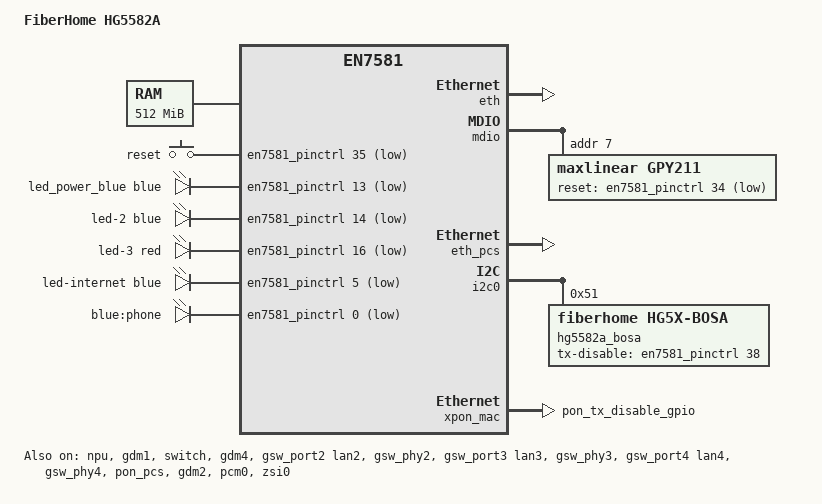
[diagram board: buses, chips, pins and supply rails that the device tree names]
// SPDX-License-Identifier: (GPL-2.0-only OR BSD-2-Clause)
/dts-v1/;

/* Firmware reserves the first 2 MiB of DRAM. */
/memreserve/ 0x80000000 0x200000;

#include <dt-bindings/gpio/gpio.h>
#include <dt-bindings/input/input.h>
#include <dt-bindings/leds/common.h>
#include "an7581.dtsi"
#include "an7581-fiberhome-ubi-parts.dtsi"

/* FiberHome HG5582A board description.
 *
 * HG5582A is the single-FXS variant of the HG5382A family. It uses the same
 * AN7581 PON/LAN platform, parallel NAND and GPY211 2.5G PHY, but has no
 * WiFi or USB and exposes one Le9641 ZSI FXS line.  The AN7581 voice
 * nodes are added by the AN7581-specific voice driver, not the EN75xx stack.
 */

/ {
	model = "FiberHome HG5582A";
	/*
	 * The stock HG5382A U-Boot validates the first compatible string before
	 * accepting a firmware FIT.  Keep the hg5382a alias first so that stock
	 * recovery accepts this image; hg5582a remains in the list and preinit
	 * restores the real board_name.
	 */
	compatible = "fiberhome,hg5382a", "fiberhome,hg5582a",
		     "airoha,an7581", "airoha,en7581";

	aliases {
		/* OpenWrt diag state controls the power LED. */
		led-boot = &led_power_blue;
		led-failsafe = &led_power_blue;
		led-running = &led_power_blue;
		led-upgrade = &led_power_blue;

		serial0 = &uart1;
	};

	chosen {
		/* fitblk locates the FIT-embedded read-only rootfs through this volume. */
		rootdisk = <&ubi_fit>;
		bootargs = "console=ttyS0,115200 earlycon";
		stdout-path = "serial0:115200n8";
	};

	memory@80000000 {
		device_type = "memory";
		reg = <0x0 0x80000000 0x0 0x20000000>;
	};

	keys {
		compatible = "gpio-keys";

		key-reset {
			label = "reset";
			linux,code = <KEY_RESTART>;
			/* The reset key drives GPIO35 low. */
			gpios = <&en7581_pinctrl 35 GPIO_ACTIVE_LOW>;
			debounce-interval = <60>;
		};
	};

	leds {
		compatible = "gpio-leds";

		/* The active-low power LED is connected to GPIO13. */
		led_power_blue: led-0 {
			color = <LED_COLOR_ID_BLUE>;
			function = LED_FUNCTION_POWER;
			gpios = <&en7581_pinctrl 13 GPIO_ACTIVE_LOW>;
		};

		/* PON registration maps O1-O3 to fast blink, O4 to slow blink, and O5 on. */
		led-2 {
			color = <LED_COLOR_ID_BLUE>;
			function = LED_FUNCTION_WAN;
			gpios = <&en7581_pinctrl 14 GPIO_ACTIVE_LOW>;
			linux,default-trigger = "pon0-registration";
		};

		/* The LOS LED follows optical signal loss. */
		led-3 {
			color = <LED_COLOR_ID_RED>;
			function = LED_FUNCTION_WAN;
			gpios = <&en7581_pinctrl 16 GPIO_ACTIVE_LOW>;
			linux,default-trigger = "pon0-los";
		};

		/* Internet / broadband; active-low GPIO5, follows PON online. */
		led-internet {
			color = <LED_COLOR_ID_BLUE>;
			function = LED_FUNCTION_WAN_ONLINE;
			gpios = <&en7581_pinctrl 5 GPIO_ACTIVE_LOW>;
			linux,default-trigger = "pon0-online";
		};

		/* POTS/phone LED; active-low GPIO0, controlled by phone-led. */
		led-phone {
			label = "blue:phone";
			gpios = <&en7581_pinctrl 0 GPIO_ACTIVE_LOW>;
			default-state = "off";
		};
	};
};

/*
 * AN7581 voice: the PCM engine, ZSI wrapper and Le9641 SLIC are separate
 * drivers.  Do not bind the EN75xx PCM/ZSI/voice stack here.
 */

/ {
	pcm0: pcm@1fbd0000 {
		compatible = "airoha,an7581-pcm";
		reg = <0x0 0x1fbd0000 0x0 0x1000>;
		reg-names = "pcm";
		interrupts = <GIC_SPI 27 IRQ_TYPE_LEVEL_HIGH>;
		status = "okay";
	};

	zsi0: zsi@1fbd1000 {
		compatible = "airoha,an7581-zsi";
		reg = <0x0 0x1fbd1000 0x0 0x1000>;
		reg-names = "zsi";
		airoha,scu = <&scuclk>;
		airoha,chip-scu = <&chip_scu>;
		pinctrl-names = "default";
		pinctrl-0 = <&pcm1_pins>, <&pcm_spi_cs1_pins>;
		#address-cells = <1>;
		#size-cells = <0>;
		status = "okay";

		slic0: slic@0 {
			compatible = "fiberhome,hg5582a-le9641", "microsemi,le9641";
			reg = <0>;
			airoha,zsi = <&zsi0>;
			airoha,pcm = <&pcm0>;
			airoha,bus-slots = <4>;
			status = "okay";
		};
	};
};

&en7581_pinctrl {
	/* GPIO0 starts at pin 13 on AN7581. */
	gpio-ranges = <&en7581_pinctrl 0 13 50>;

	/* AN7581 ZSI uses PCM1 only (GPIO9-12) plus the CS1 wrapper. */
	pcm1_pins: pcm1-pins {
		mux {
			function = "pcm";
			groups = "pcm1";
		};
	};

	pcm_spi_cs1_pins: pcm-spi-cs1-pins {
		mux {
			function = "pcm_spi";
			groups = "pcm_spi_cs1";
		};
	};

	pon_pins: pon-pins {
		mux {
			/* Leave GPIO38/TX_DISABLE under optical frontend control. */
			function = "pon";
			groups = "pon_tx_disable_gpio";
		};
	};

	mdio_pins: mdio-pins {
		mux {
			function = "mdio";
			groups = "mdio";
		};
	};

	pnand_pins: pnand-pins {
		mux {
			/* Parallel NAND uses GPIO4-7 and GPIO30-42. */
			function = "pnand";
			groups = "pnand";
		};
	};
};

&{/soc} {
	/* HG5382A uses an 8-bit TSOP48 parallel NAND. */
	/delete-node/ spi@1fa10000;
};

&npu {
	status = "okay";
};

&eth {
	status = "okay";
};

&gdm1 {
	/* The switch CPU port uses the board base MAC address. */
	nvmem-cells = <&fiberhome_base_mac>;
	nvmem-cell-names = "mac-address";
	status = "okay";
};

&switch {
	pinctrl-names = "default";
	pinctrl-0 = <&mdio_pins>;
	status = "okay";
};

&mdio {
	/* GPY211 uses MDIO address 7 and active-low GPIO34 reset. */
	gpy211: ethernet-phy@7 {
		/* Clause 45 fallback retains standard MDIO enumeration. */
		compatible = "maxlinear,gpy211",
			     "ethernet-phy-ieee802.3-c45";
		reg = <7>;
		reset-gpios = <&en7581_pinctrl 34 GPIO_ACTIVE_LOW>;
		reset-assert-us = <100000>;
		reset-deassert-us = <100000>;
	};
};

&eth_pcs {
	/* HSGMII connects the external 2.5G LAN PHY. */
	status = "okay";
};

&gdm4 {
	/* The external 2.5G port and switch CPU port share the factory base MAC. */
	nvmem-cells = <&fiberhome_base_mac>;
	nvmem-cell-names = "mac-address";
	status = "okay";
	phy-handle = <&gpy211>;
	phy-mode = "2500base-x";
	openwrt,netdev-name = "lan1";
};

/* Internal PHY2, PHY3, and PHY4 connect the remaining copper ports. */
&gsw_port2 {
	label = "lan2";
	status = "okay";
};

&gsw_phy2 {
	status = "okay";
};

&gsw_port3 {
	label = "lan3";
	status = "okay";
};

&gsw_phy3 {
	status = "okay";
};

&gsw_port4 {
	label = "lan4";
	status = "okay";
};

&gsw_phy4 {
	status = "okay";
};

&i2c0 {
	status = "okay";

	/* GPIO38 is the active-high optical TX_DISABLE signal. */
	//gn28l95_hg5582a: optical-front-end@51 {
	hg5582a_bosa: optical-front-end@51 {
		compatible = "fiberhome,hg5x-bosa", "airoha,paged-bosa";
		reg = <0x51>;
		/* BURST_EN_INV zero selects active-high BEN. */
		fiberhome,ben-active-high;
		nvmem-cells = <&pon_calibration>;
		nvmem-cell-names = "calibration";
		tx-disable-gpios = <&en7581_pinctrl 38 GPIO_ACTIVE_HIGH>;
		status = "okay";
	};
};

&pon_pcs {
	status = "okay";
};

&xpon_mac {
	pinctrl-names = "default";
	pinctrl-0 = <&pon_pins>;
	//optical-front-end = <&gn28l95_hg5582a>;
	optical-front-end = <&hg5582a_bosa>;
	data-path = <&gdm2>;
	nvmem-cells = <&fiberhome_pon_serial>;
	nvmem-cell-names = "pon-serial";
	status = "okay";
};

&gdm2 {
	/* XG-PON activation and service GEM state drive pon0 carrier. */
	nvmem-cells = <&fiberhome_base_mac>;
	nvmem-cell-names = "mac-address";
	airoha,pon-data-path;
	status = "okay";
};
